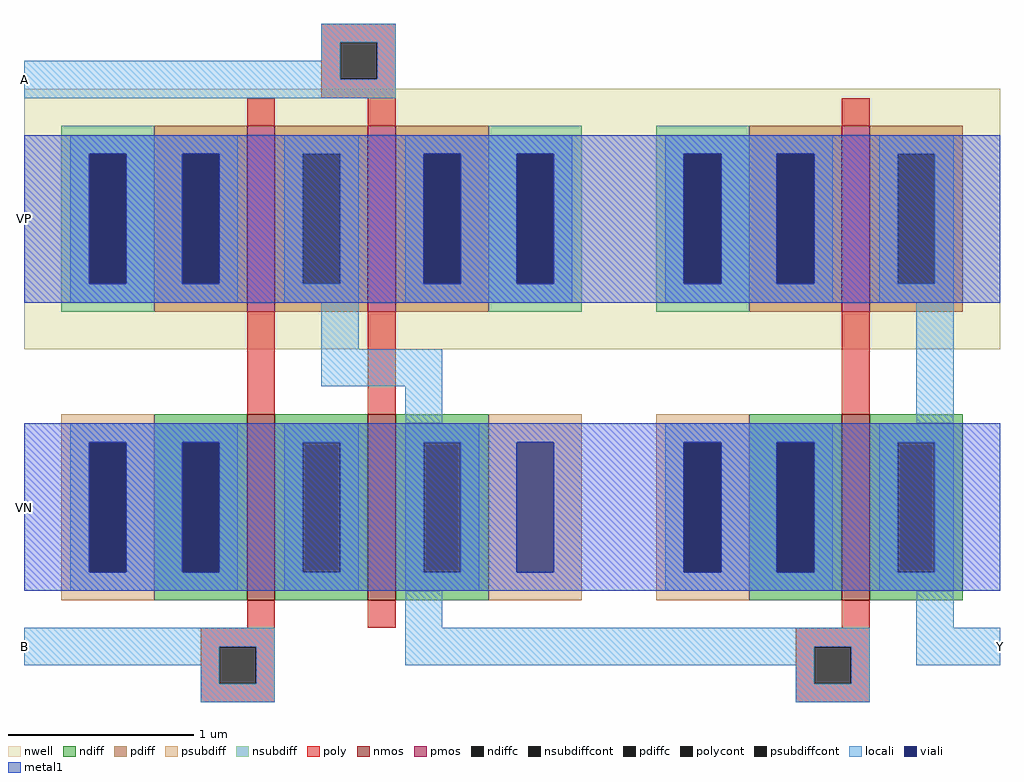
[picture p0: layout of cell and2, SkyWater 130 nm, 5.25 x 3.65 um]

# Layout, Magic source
magic
tech sky130A
<< locali >>
rect -20 305 0 325
rect -20 0 0 20
rect 485 0 505 20
<< metal1 >>
rect -20 195 0 285
rect -20 40 0 130
use inverter  inverter_0
transform 1 0 420 0 1 35
box -120 -55 85 275
use nand2  nand2_0
transform 1 0 100 0 1 70
box -120 -90 200 275
<< labels >>
rlabel locali -20 10 -20 10 7 B
rlabel metal1 -20 85 -20 85 7 VN
rlabel metal1 -20 240 -20 240 7 VP
rlabel locali -20 315 -20 315 7 A
rlabel locali 505 10 505 10 3 Y
<< end >>

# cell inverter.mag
magic
tech sky130A
<< nwell >>
rect -120 135 85 275
<< nmos >>
rect 0 0 15 100
<< pmos >>
rect 0 155 15 255
<< ndiff >>
rect -50 85 0 100
rect -50 15 -35 85
rect -15 15 0 85
rect -50 0 0 15
rect 15 85 65 100
rect 15 15 30 85
rect 50 15 65 85
rect 15 0 65 15
<< pdiff >>
rect -50 240 0 255
rect -50 170 -35 240
rect -15 170 0 240
rect -50 155 0 170
rect 15 240 65 255
rect 15 170 30 240
rect 50 170 65 240
rect 15 155 65 170
<< ndiffc >>
rect -35 15 -15 85
rect 30 15 50 85
<< pdiffc >>
rect -35 170 -15 240
rect 30 170 50 240
<< psubdiff >>
rect -100 85 -50 100
rect -100 15 -85 85
rect -65 15 -50 85
rect -100 0 -50 15
<< nsubdiff >>
rect -100 240 -50 255
rect -100 170 -85 240
rect -65 170 -50 240
rect -100 155 -50 170
<< psubdiffcont >>
rect -85 15 -65 85
<< nsubdiffcont >>
rect -85 170 -65 240
<< poly >>
rect 0 255 15 270
rect 0 100 15 155
rect 0 -15 15 0
rect -25 -25 15 -15
rect -25 -45 -15 -25
rect 5 -45 15 -25
rect -25 -55 15 -45
<< polycont >>
rect -15 -45 5 -25
<< locali >>
rect -95 240 -5 250
rect -95 170 -85 240
rect -65 170 -35 240
rect -15 170 -5 240
rect -95 160 -5 170
rect 20 240 60 250
rect 20 170 30 240
rect 50 170 60 240
rect 20 160 60 170
rect 40 95 60 160
rect -95 85 -5 95
rect -95 15 -85 85
rect -65 15 -35 85
rect -15 15 -5 85
rect -95 5 -5 15
rect 20 85 60 95
rect 20 15 30 85
rect 50 15 60 85
rect 20 5 60 15
rect 40 -15 60 5
rect -120 -25 15 -15
rect -120 -35 -15 -25
rect -25 -45 -15 -35
rect 5 -45 15 -25
rect 40 -35 85 -15
rect -25 -55 15 -45
<< viali >>
rect -85 170 -65 240
rect -35 170 -15 240
rect -85 15 -65 85
rect -35 15 -15 85
<< metal1 >>
rect -120 240 85 250
rect -120 170 -85 240
rect -65 170 -35 240
rect -15 170 85 240
rect -120 160 85 170
rect -120 85 85 95
rect -120 15 -85 85
rect -65 15 -35 85
rect -15 15 85 85
rect -120 5 85 15
<< labels >>
rlabel locali -120 -25 -120 -25 7 A
port 1 w
rlabel metal1 -120 205 -120 205 7 VP
port 3 w
rlabel metal1 -120 50 -120 50 7 VN
port 4 w
rlabel locali 85 -25 85 -25 3 Y
port 2 e
<< end >>

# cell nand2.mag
magic
tech sky130A
<< nwell >>
rect -120 100 200 240
<< nmos >>
rect 0 -35 15 65
rect 65 -35 80 65
<< pmos >>
rect 0 120 15 220
rect 65 120 80 220
<< ndiff >>
rect -50 50 0 65
rect -50 -20 -35 50
rect -15 -20 0 50
rect -50 -35 0 -20
rect 15 50 65 65
rect 15 -20 30 50
rect 50 -20 65 50
rect 15 -35 65 -20
rect 80 50 130 65
rect 80 -20 95 50
rect 115 -20 130 50
rect 80 -35 130 -20
<< pdiff >>
rect -50 205 0 220
rect -50 135 -35 205
rect -15 135 0 205
rect -50 120 0 135
rect 15 205 65 220
rect 15 135 30 205
rect 50 135 65 205
rect 15 120 65 135
rect 80 205 130 220
rect 80 135 95 205
rect 115 135 130 205
rect 80 120 130 135
<< ndiffc >>
rect -35 -20 -15 50
rect 30 -20 50 50
rect 95 -20 115 50
<< pdiffc >>
rect -35 135 -15 205
rect 30 135 50 205
rect 95 135 115 205
<< psubdiff >>
rect -100 50 -50 65
rect -100 -20 -85 50
rect -65 -20 -50 50
rect -100 -35 -50 -20
rect 130 -35 180 65
<< nsubdiff >>
rect -100 205 -50 220
rect -100 135 -85 205
rect -65 135 -50 205
rect -100 120 -50 135
rect 130 205 180 220
rect 130 135 145 205
rect 165 135 180 205
rect 130 120 180 135
<< psubdiffcont >>
rect -85 -20 -65 50
<< nsubdiffcont >>
rect -85 135 -65 205
rect 145 135 165 205
<< poly >>
rect 40 265 80 275
rect 40 245 50 265
rect 70 245 80 265
rect 40 235 80 245
rect 0 220 15 235
rect 65 220 80 235
rect 0 65 15 120
rect 65 65 80 120
rect 0 -50 15 -35
rect 65 -50 80 -35
rect -25 -60 15 -50
rect -25 -80 -15 -60
rect 5 -80 15 -60
rect -25 -90 15 -80
<< polycont >>
rect 50 245 70 265
rect -15 -80 5 -60
<< locali >>
rect 40 265 80 275
rect 40 255 50 265
rect -120 245 50 255
rect 70 245 80 265
rect -120 235 80 245
rect -95 205 -5 215
rect -95 135 -85 205
rect -65 135 -35 205
rect -15 135 -5 205
rect -95 125 -5 135
rect 20 205 60 215
rect 20 135 30 205
rect 50 135 60 205
rect 20 125 60 135
rect 85 205 175 215
rect 85 135 95 205
rect 115 135 145 205
rect 165 135 175 205
rect 85 125 175 135
rect 40 100 60 125
rect 40 80 105 100
rect 85 60 105 80
rect -95 50 -5 60
rect -95 -20 -85 50
rect -65 -20 -35 50
rect -15 -20 -5 50
rect -95 -30 -5 -20
rect 20 50 60 60
rect 20 -20 30 50
rect 50 -20 60 50
rect 20 -30 60 -20
rect 85 50 125 60
rect 85 -20 95 50
rect 115 -20 125 50
rect 85 -30 125 -20
rect 85 -50 105 -30
rect -120 -60 15 -50
rect -120 -70 -15 -60
rect -25 -80 -15 -70
rect 5 -80 15 -60
rect 85 -70 200 -50
rect -25 -90 15 -80
<< viali >>
rect -85 135 -65 205
rect -35 135 -15 205
rect 95 135 115 205
rect 145 135 165 205
rect -85 -20 -65 50
rect -35 -20 -15 50
rect 145 -20 165 50
<< metal1 >>
rect -120 205 200 215
rect -120 135 -85 205
rect -65 135 -35 205
rect -15 135 95 205
rect 115 135 145 205
rect 165 135 200 205
rect -120 125 200 135
rect -120 50 200 60
rect -120 -20 -85 50
rect -65 -20 -35 50
rect -15 -20 145 50
rect 165 -20 200 50
rect -120 -30 200 -20
<< labels >>
rlabel locali -120 245 -120 245 7 A
port 1 w
rlabel locali -120 -60 -120 -60 7 B
port 2 w
rlabel locali 200 -60 200 -60 3 Y
port 3 e
rlabel metal1 -120 170 -120 170 7 VP
port 4 w
rlabel metal1 -120 15 -120 15 7 VN
port 5 w
<< end >>
